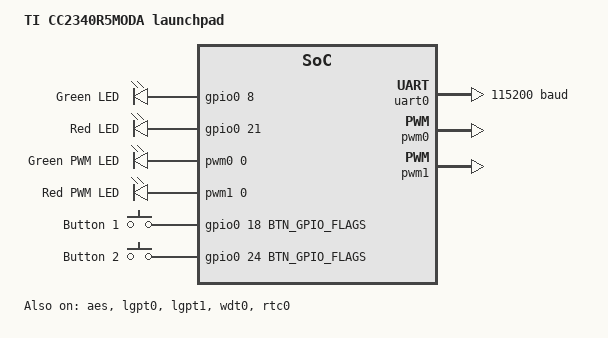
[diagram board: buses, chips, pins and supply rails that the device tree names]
/*
 * Copyright (c) 2026 Texas Instruments Incorporated
 *
 * SPDX-License-Identifier: Apache-2.0
 */

/dts-v1/;

#include <ti/cc2340r53.dtsi>
#include "boosterpack_connector.dtsi"
#include "lp_em_cc2340r5moda-pinctrl.dtsi"
#include <zephyr/dt-bindings/gpio/gpio.h>
#include <zephyr/dt-bindings/pwm/pwm.h>
#include <zephyr/dt-bindings/input/input-event-codes.h>

#define BTN_GPIO_FLAGS (GPIO_ACTIVE_LOW | GPIO_PULL_UP)

/ {
	model = "TI CC2340R5MODA launchpad";
	compatible = "ti,lp_em_cc2340r5moda";

	chosen {
		zephyr,sram = &sram0;
		zephyr,flash = &flash0;
		zephyr,console = &uart0;
		zephyr,shell-uart = &uart0;
		zephyr,code-partition = &slot0_partition;
		zephyr,uart-mcumgr = &uart0;
	};

	aliases {
		led0 = &led0;
		led1 = &led1;
		sw0 = &btn0;
		sw1 = &btn1;
		pwm-led0 = &pwm_green;
		pwm-led1 = &pwm_red;
		watchdog0 = &wdt0;
		mcuboot-led0 = &led1;
		mcuboot-button0 = &btn1;
	};

	leds {
		compatible = "gpio-leds";
		led0: led_0 {
			gpios = <&gpio0 8 GPIO_ACTIVE_HIGH>;
			label = "Green LED";
		};
		led1: led_1 {
			gpios = <&gpio0 21 GPIO_ACTIVE_HIGH>;
			label = "Red LED";
		};
	};

	pwmleds {
		compatible = "pwm-leds";

		pwm_green: pwm_led_0 {
			pwms = <&pwm0 0 1000 PWM_POLARITY_NORMAL>;
			label = "Green PWM LED";
		};

		pwm_red: pwm_led_1 {
			pwms = <&pwm1 0 1000 PWM_POLARITY_NORMAL>;
			label = "Red PWM LED";
		};
	};

	keys {
		compatible = "gpio-keys";
		btn0: btn_0 {
			gpios = <&gpio0 18 BTN_GPIO_FLAGS>;
			label = "Button 1";
			zephyr,code = <INPUT_KEY_0>;
		};
		btn1: btn_1 {
			gpios = <&gpio0 24 BTN_GPIO_FLAGS>;
			label = "Button 2";
			zephyr,code = <INPUT_KEY_1>;
		};
	};

	lfxosc: lf_xosc {
		compatible = "ti,cc23x0-lf-xosc";
	};
};

/delete-node/ &slot0_partition;

&flash0 {
	partitions {
		/* 40 KiB (0xa000) for MCUboot */
		boot_partition: partition@0 {
			label = "mcuboot";
			reg = <0x00000000 0x0000a000>;
		};

		/* 233472 Bytes (0x39000) per slot for application */
		slot0_partition: partition@a000 {
			label = "image-0";
			reg = <0x0000a000 0x00039000>;
		};

		slot1_partition: partition@43000 {
			label = "image-1";
			reg = <0x00043000 0x00039000>;
		};
	};
};

&cpu0 {
	clock-frequency = <48000000>;
};

&gpio0 {
	status = "okay";
};

&uart0 {
	status = "okay";
	current-speed = <115200>;
	pinctrl-0 = <&uart0_rx_default &uart0_tx_default>;
	pinctrl-names = "default";
};

&spi0 {
	status = "disabled";
	pinctrl-0 = <&spi0_sck_default
			 &spi0_mosi_default
			 &spi0_miso_default
			 &spi0_cs_default>;
	pinctrl-1 = <&spi0_sck_sleep
			 &spi0_mosi_sleep
			 &spi0_miso_sleep
			 &spi0_cs_sleep>;
	pinctrl-names = "default", "sleep";
	cs-gpios = <&gpio0 11 GPIO_ACTIVE_LOW>;
	mx25r80: mx25r8035f@0 {
		compatible = "jedec,spi-nor";
		reg = <0>;
		status = "disabled";
		spi-max-frequency = <12000000>;
		size = <0x800000>;
		jedec-id = [c2 28 14];
		sfdp-bfp = [
			 e5 20 f1 ff  ff ff 7f 00  44 eb 08 6b  08 3b 04 bb
			 ee ff ff ff  ff ff 00 ff  ff ff 00 ff  0c 20 0f 52
			 10 d8 00 ff  23 72 f5 00  82 ed 04 b7  44 83 38 44
			 30 b0 30 b0  f7 c4 d5 5c  00 be 29 ff  f0 d0 ff ff
		];
	};
};

&i2c0 {
	status = "disabled";
	pinctrl-0 = <&i2c0_scl_default
			 &i2c0_sda_default>;
	clock-frequency = <100000>;
	pinctrl-names = "default";
};

&aes {
	status = "okay";
};

&dma {
	status = "okay";
};

&lgpt0 {
	clk-prescale = <32>;
	status = "okay";
};

&lgpt1 {
	clk-prescale = <32>;
	status = "okay";
};

&pwm0 {
	pinctrl-0 = <&pwm0_default>;
	pinctrl-names = "default";
	status = "okay";
};

&pwm1 {
	pinctrl-0 = <&pwm1_default>;
	pinctrl-names = "default";
	status = "okay";
};

&wdt0 {
	status = "okay";
};

&rtc0 {
	status = "okay";
};
